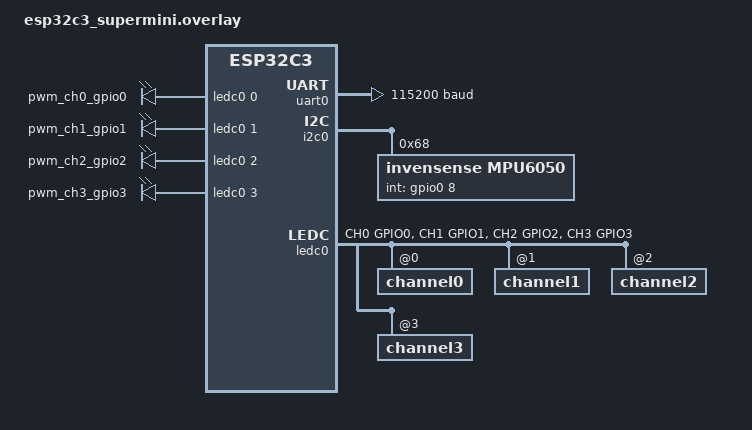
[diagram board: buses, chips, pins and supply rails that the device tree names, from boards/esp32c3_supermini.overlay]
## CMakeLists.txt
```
cmake_minimum_required(VERSION 3.20.0)

find_package(Zephyr REQUIRED HINTS $ENV{ZEPHYR_BASE})
project(balanco)

set(CMAKE_EXPORT_COMPILE_COMMANDS 1)
FILE(GLOB_RECURSE app_sources src/*.c)

target_sources(app PRIVATE ${app_sources})
target_include_directories(app PRIVATE src)
```

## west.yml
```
manifest:
  projects:
    - name: zephyr
      revision: v4.3.0
      path: zephyr
      url: https://github.com/zephyrproject-rtos/zephyr.git
      import:
        name-allowlist:
          - cmsis
          - hal_xtensa
          - hal_espressif
          # - hal_stm32
          # - lvgl
          - mbedtls
          - mcuboot
          # - trusted-firmware-m
          # - net-tools

    # - name: max30102
    #   path: third-party-drivers
    #   url: https://github.com/tinkhauser/max30102_zephyr
    #   revision: main
  self:
    path: c-seira
```

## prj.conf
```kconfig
CONFIG_LOG=y
CONFIG_LOG_BACKEND_UART=y
CONFIG_CBPRINTF_FP_SUPPORT=y

CONFIG_SERIAL=y
CONFIG_UART_INTERRUPT_DRIVEN=y

CONFIG_PWM=y

# For MPU6050
# Example:
# https://github.com/zephyrproject-rtos/zephyr/blob/main/samples/sensor/mpu6050/prj.conf
CONFIG_I2C=y
CONFIG_SENSOR=y

CONFIG_MPU6050_TRIGGER_GLOBAL_THREAD=y
```

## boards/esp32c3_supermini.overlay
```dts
/ {
  pwm_outputs {
    compatible = "pwm-leds";

    pwm_ch0_gpio0: pwm_ch0_gpio0 {
        pwms = <&ledc0 0 1000000 0>;
    };
    pwm_ch1_gpio1: pwm_ch1_gpio1 {
        pwms = <&ledc0 1 1000000 0>;
    };
    pwm_ch2_gpio2: pwm_ch2_gpio2 {
        pwms = <&ledc0 2 1000000 0>;
    };
    pwm_ch3_gpio3: pwm_ch3_gpio3 {
        pwms = <&ledc0 3 1000000 0>;
    };
  };
};

&uart0 {
  status = "okay";
  current-speed = <115200>;
  pinctrl-0 = <&uart0_default>;
  pinctrl-names = "default";
};

// Default:
// SDA = IO9
// SDL = IO10
&i2c0 {
	mpu6050@68 {
		compatible = "invensense,mpu6050";
		reg = <0x68>;
		status = "okay";
		int-gpios = <&gpio0 8 GPIO_ACTIVE_HIGH>;
    // base rate / (smplrt-div + 1)
    // accelerometer & gyro base rate is 1KHz, when filter enabled.
    // smplrt-div = 4, aims at 200Hz (1K / 5 = 200, dt=5ms)
		smplrt-div = <4>;
	};
};

&pinctrl {
  ledc0_default: ledc0_default {
    group1 {
      pinmux =  <LEDC_CH0_GPIO0>,
                <LEDC_CH1_GPIO1>,
                <LEDC_CH2_GPIO2>,
                <LEDC_CH3_GPIO3>;
      output-enable;
    };
  };
};

&ledc0 {
  status = "okay";
  pinctrl-0 = <&ledc0_default>;
  pinctrl-names = "default";
  #address-cells = <1>;
  #size-cells = <0>;

  channel0@0 {
    reg = <0>;
    timer = <0>;
  };
  channel1@1 {
    reg = <1>;
    timer = <0>;
  };
  channel2@2 {
    reg = <2>;
    timer = <1>;
  };
  channel3@3 {
    reg = <3>;
    timer = <1>;
  };
};

/delete-node/ &boot_partition;
/delete-node/ &sys_partition;
/delete-node/ &slot0_partition;
/delete-node/ &slot1_partition;
/delete-node/ &slot0_lpcore_partition;
/delete-node/ &slot1_lpcore_partition;
/delete-node/ &coredump_partition;
/delete-node/ &scratch_partition;
/delete-node/ &storage_partition;

&flash0 {
  partitions {
    // 65k
    boot_partition: partition@0 {
      label = "mcuboot";
      reg = < 0x0 0x10000 >;
    };

    // ~524k
    slot0_partition: partition@10000 {
      label = "image-0";
      reg = < 0x10000 0x80000 >;
    };

    // ~524k
    slot1_partition: partition@90000 {
      label = "image-1";
      reg = < 0x90000 0x80000 >;
    };

    // ~ 128kb
    storage_partition: partition@110000 {
      label = "storage_partition";
      reg = < 0x110000 0x20000 >;
    };
  };
};
```

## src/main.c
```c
#include <stdio.h>
#include <sys/cdefs.h>
#include <zephyr/kernel.h>

#include "central.h"

int main()
{
	k_sleep(K_MSEC(2000));

	int error = central_init();
	if (error) {
		printf("Failed to initilize mpu_init %d\n", error);
	}

	for (;;) {
		printf("ping\n");
		k_sleep(K_MSEC(2000));
	}
}
```

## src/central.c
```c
#include "data.h"
#include <stdint.h>
#include <stdio.h>
#include <sys/_intsup.h>
#include <zephyr/kernel.h>
#include "libs/mpu/pid.h"
#include "libs/mpu/mpu.h"
#include "libs/motor/motor.h"

static void th(void*, void*, void*);
static void handle_accel(float pitch, float dt);
static void handle_pid_tunning(char ch);

K_THREAD_DEFINE(th_id, 1024, th, NULL, NULL, NULL, K_LOWEST_THREAD_PRIO, 0, 0);
K_MSGQ_DEFINE(msgq, sizeof(struct packet), 4, 1);

static struct pid pid;

int central_init()
{
	int error = 0;

	// error = pid_init(&pid, 0, 20.0, 0, 0.60);
	error = pid_init(&pid, 0, 25.0, 0.01, 0.30);
	if (error) {
		return error;
	}

	error = mpu_init();
	if (error) {
		return error;
	}

	return 0;
}

int central_send(struct packet* packet)
{
	return k_msgq_put(&msgq, packet, K_NO_WAIT);
}

inline static int central_recv(struct packet* packet, k_timeout_t timeout)
{
	return k_msgq_get(&msgq, packet, timeout);
}

static void th(void* arg1, void* arg2, void* arg3)
{
	int           error = 0;
	struct packet packet;

	for (;;) {
		error = central_recv(&packet, K_FOREVER);
		if (error) {
			continue;
		}

		switch (packet.id) {
		case PCKT_MPU_PITCH:
			handle_accel(packet.mpu.pitch, packet.mpu.dt);
			break;
		case PCKT_PID_TUN:
			handle_pid_tunning(packet.character);
			break;
		default:
			break;
		}
	}
}

static void handle_accel(float pitch, float dt)
{
	// printf("[%02.7f]:[%02.7f]\n", (double)dt, (double)pitch);

	int32_t percent = pid_update(&pid, pitch, dt);
	if (percent == 0 || (pitch > 45.0f || pitch < -45.0f)) {
		motor_brake();
	}
	else if (percent > 0) {
		motor_forward(percent);
	}
	else if (percent < 0) {
		motor_backwards(abs(percent));
	}
}

static void handle_pid_tunning(char ch)
{
	switch (ch) {
	case 'q':
		pid.kp += 0.1f;
		break;
	case 'a':
		pid.kp -= !pid.kp ? 0.0f : 0.1f;
		break;
	case 'w':
		pid.ki += 0.1f;
		break;
	case 's':
		pid.ki -= !pid.ki ? 0.0f : 0.1f;
		break;
	case 'e':
		pid.kd += 0.01f;
		break;
	case 'd':
		pid.kd -= !pid.kd ? 0.0f : 0.01f;
		break;
	case 'r':
		pid.kp = 0.0f;
		pid.ki = 0.0f;
		pid.kd = 0.0f;
		break;
	}

	printf("kp=%f ki=%f kd=%f\n",
	       (double)pid.kp,
	       (double)pid.ki,
	       (double)pid.kd);
}
```

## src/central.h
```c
#pragma once

#include <stdint.h>
#include "data.h"

int central_init();
int central_send(struct packet* packet);
int central_recv(struct packet* packet);
```

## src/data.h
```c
#pragma once

#include <stdint.h>

enum packet_id {
	PCKT_MPU_PITCH,
	PCKT_PID_TUN
};

struct packet {
	enum packet_id id;

	union {
		struct {
			float pitch;
			float dt;
		} mpu;

		char character;
	};
};
```
